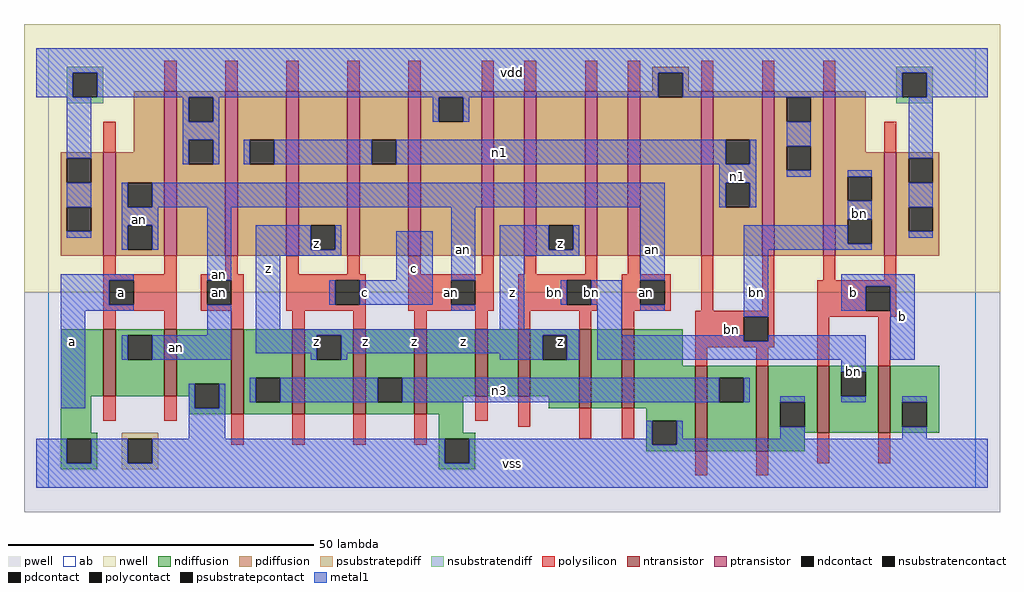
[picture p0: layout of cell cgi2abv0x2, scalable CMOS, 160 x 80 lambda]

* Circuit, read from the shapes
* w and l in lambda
.subckt cgi2abv0x2 a an b bn c n1 n3 vdd vss z
M1 an a vss vss nfet w=11 l=2 m=2
M2 n3 an vss vss nfet w=14 l=2 m=2
M3 z c n3 vss nfet w=14 l=2 m=2
M4 n2 an vss vss nfet w=11 l=2
M5 z bn n2 vss nfet w=11 l=2
M6 n4 bn z vss nfet w=13 l=2
M7 vss an n4 vss nfet w=13 l=2
M8 n3 bn vss vss nfet w=14 l=2 m=2
M9 bn b vss vss nfet w=11 l=2 m=2
M10 an a vdd vdd pfet w=17 l=2
M11 vdd a an vdd pfet w=27 l=2
M12 n1 an vdd vdd pfet w=27 l=2 m=2
M13 z c n1 vdd pfet w=27 l=2 m=2
M14 n5 an vdd vdd pfet w=27 l=2
M15 z bn n5 vdd pfet w=27 l=2
M16 n6 bn z vdd pfet w=27 l=2
M17 vdd an n6 vdd pfet w=27 l=2
M18 n1 bn vdd vdd pfet w=27 l=2 m=2
M19 bn b vdd vdd pfet w=27 l=2
M20 vdd b bn vdd pfet w=17 l=2
.ends

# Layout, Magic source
magic
tech scmos
<< ab >>
rect 0 0 152 72
<< pwell >>
rect -4 -4 156 32
<< nwell >>
rect -4 32 156 76
<< polysilicon >>
rect 19 65 21 70
rect 29 65 31 70
rect 39 65 41 70
rect 49 65 51 70
rect 59 65 61 70
rect 71 65 73 70
rect 78 65 80 70
rect 88 65 90 70
rect 95 65 97 70
rect 9 55 11 60
rect 107 65 109 70
rect 117 65 119 70
rect 127 65 129 70
rect 137 55 139 60
rect 9 35 11 38
rect 19 35 21 38
rect 29 35 31 38
rect 39 35 41 38
rect 49 35 51 38
rect 59 35 61 38
rect 71 35 73 38
rect 78 35 80 38
rect 88 35 90 38
rect 95 35 97 38
rect 9 34 21 35
rect 9 30 10 34
rect 14 30 21 34
rect 9 29 21 30
rect 25 34 32 35
rect 25 30 26 34
rect 30 30 32 34
rect 25 29 32 30
rect 39 34 52 35
rect 39 30 47 34
rect 51 30 52 34
rect 39 29 52 30
rect 59 34 73 35
rect 59 30 66 34
rect 70 30 73 34
rect 59 29 73 30
rect 77 34 90 35
rect 77 30 85 34
rect 89 30 90 34
rect 77 29 90 30
rect 94 34 102 35
rect 94 30 97 34
rect 101 30 102 34
rect 94 29 102 30
rect 107 29 109 38
rect 117 29 119 38
rect 127 34 129 38
rect 137 34 139 38
rect 9 26 11 29
rect 19 26 21 29
rect 30 26 32 29
rect 40 26 42 29
rect 50 26 52 29
rect 60 26 62 29
rect 70 26 72 29
rect 77 26 79 29
rect 87 26 89 29
rect 94 26 96 29
rect 106 28 119 29
rect 9 11 11 15
rect 19 11 21 15
rect 30 7 32 12
rect 40 7 42 12
rect 50 7 52 12
rect 60 7 62 12
rect 70 11 72 15
rect 77 10 79 15
rect 106 24 114 28
rect 118 24 119 28
rect 106 23 119 24
rect 126 33 139 34
rect 126 29 134 33
rect 138 29 139 33
rect 126 28 139 29
rect 106 20 108 23
rect 116 20 118 23
rect 126 20 128 28
rect 136 20 138 28
rect 87 8 89 13
rect 94 8 96 13
rect 106 2 108 6
rect 116 2 118 6
rect 126 4 128 9
rect 136 4 138 9
<< ndiffusion >>
rect 2 15 9 26
rect 11 25 19 26
rect 11 21 13 25
rect 17 21 19 25
rect 11 15 19 21
rect 21 17 30 26
rect 21 15 24 17
rect 2 9 7 15
rect 23 13 24 15
rect 28 13 30 17
rect 23 12 30 13
rect 32 18 40 26
rect 32 14 34 18
rect 38 14 40 18
rect 32 12 40 14
rect 42 25 50 26
rect 42 21 44 25
rect 48 21 50 25
rect 42 12 50 21
rect 52 18 60 26
rect 52 14 54 18
rect 58 14 60 18
rect 52 12 60 14
rect 62 15 70 26
rect 72 15 77 26
rect 79 25 87 26
rect 79 21 81 25
rect 85 21 87 25
rect 79 15 87 21
rect 62 12 68 15
rect 2 8 8 9
rect 2 4 3 8
rect 7 4 8 8
rect 2 3 8 4
rect 64 9 68 12
rect 82 13 87 15
rect 89 13 94 26
rect 96 20 104 26
rect 96 13 106 20
rect 64 8 70 9
rect 98 11 106 13
rect 64 4 65 8
rect 69 4 70 8
rect 98 7 99 11
rect 103 7 106 11
rect 98 6 106 7
rect 108 18 116 20
rect 108 14 110 18
rect 114 14 116 18
rect 108 6 116 14
rect 118 14 126 20
rect 118 10 120 14
rect 124 10 126 14
rect 118 9 126 10
rect 128 19 136 20
rect 128 15 130 19
rect 134 15 136 19
rect 128 9 136 15
rect 138 14 146 20
rect 138 10 140 14
rect 144 10 146 14
rect 138 9 146 10
rect 118 6 124 9
rect 64 3 70 4
<< pdiffusion >>
rect 99 68 105 69
rect 99 65 100 68
rect 14 55 19 65
rect 2 54 9 55
rect 2 50 3 54
rect 7 50 9 54
rect 2 46 9 50
rect 2 42 3 46
rect 7 42 9 46
rect 2 38 9 42
rect 11 50 19 55
rect 11 46 13 50
rect 17 46 19 50
rect 11 43 19 46
rect 11 39 13 43
rect 17 39 19 43
rect 11 38 19 39
rect 21 64 29 65
rect 21 60 23 64
rect 27 60 29 64
rect 21 57 29 60
rect 21 53 23 57
rect 27 53 29 57
rect 21 38 29 53
rect 31 57 39 65
rect 31 53 33 57
rect 37 53 39 57
rect 31 38 39 53
rect 41 43 49 65
rect 41 39 43 43
rect 47 39 49 43
rect 41 38 49 39
rect 51 57 59 65
rect 51 53 53 57
rect 57 53 59 57
rect 51 38 59 53
rect 61 64 71 65
rect 61 60 64 64
rect 68 60 71 64
rect 61 38 71 60
rect 73 38 78 65
rect 80 43 88 65
rect 80 39 82 43
rect 86 39 88 43
rect 80 38 88 39
rect 90 38 95 65
rect 97 64 100 65
rect 104 65 105 68
rect 104 64 107 65
rect 97 38 107 64
rect 109 57 117 65
rect 109 53 111 57
rect 115 53 117 57
rect 109 50 117 53
rect 109 46 111 50
rect 115 46 117 50
rect 109 38 117 46
rect 119 64 127 65
rect 119 60 121 64
rect 125 60 127 64
rect 119 56 127 60
rect 119 52 121 56
rect 125 52 127 56
rect 119 38 127 52
rect 129 55 134 65
rect 129 51 137 55
rect 129 47 131 51
rect 135 47 137 51
rect 129 44 137 47
rect 129 40 131 44
rect 135 40 137 44
rect 129 38 137 40
rect 139 54 146 55
rect 139 50 141 54
rect 145 50 146 54
rect 139 46 146 50
rect 139 42 141 46
rect 145 42 146 46
rect 139 38 146 42
<< metal1 >>
rect -2 68 154 72
rect -2 64 4 68
rect 8 64 100 68
rect 104 64 140 68
rect 144 64 154 68
rect 3 54 7 64
rect 22 60 23 64
rect 27 60 28 64
rect 63 60 64 64
rect 68 60 69 64
rect 22 57 28 60
rect 22 53 23 57
rect 27 53 28 57
rect 32 53 33 57
rect 37 53 53 57
rect 57 53 111 57
rect 115 53 116 57
rect 110 50 116 53
rect 121 56 125 60
rect 141 54 145 64
rect 121 51 125 52
rect 131 51 135 52
rect 3 46 7 50
rect 3 41 7 42
rect 12 46 13 50
rect 17 46 101 50
rect 110 46 111 50
rect 115 46 116 50
rect 12 43 18 46
rect 12 39 13 43
rect 17 39 18 43
rect 2 34 14 35
rect 2 30 10 34
rect 2 29 14 30
rect 26 34 30 46
rect 2 13 6 29
rect 26 25 30 30
rect 12 21 13 25
rect 17 21 30 25
rect 34 39 43 43
rect 47 39 48 43
rect 34 38 48 39
rect 34 26 38 38
rect 57 34 63 42
rect 46 30 47 34
rect 51 30 63 34
rect 66 34 70 46
rect 66 29 70 30
rect 74 39 82 43
rect 86 39 87 43
rect 74 38 87 39
rect 74 26 78 38
rect 97 34 101 46
rect 131 44 135 47
rect 84 30 85 34
rect 89 30 94 34
rect 34 25 87 26
rect 34 22 44 25
rect 43 21 44 22
rect 48 22 81 25
rect 48 21 49 22
rect 74 21 81 22
rect 85 21 87 25
rect 90 25 94 30
rect 97 29 101 30
rect 114 40 131 43
rect 141 46 145 50
rect 141 41 145 42
rect 114 39 135 40
rect 114 28 118 39
rect 130 33 142 35
rect 130 29 134 33
rect 90 24 114 25
rect 118 24 134 25
rect 90 21 134 24
rect 138 21 142 33
rect 130 19 134 21
rect 23 13 24 17
rect 28 13 29 17
rect 33 14 34 18
rect 38 14 54 18
rect 58 14 110 18
rect 114 14 115 18
rect 120 14 124 15
rect 130 14 134 15
rect 140 14 144 15
rect 23 8 29 13
rect 98 8 99 11
rect -2 4 3 8
rect 7 4 13 8
rect 17 4 65 8
rect 69 7 99 8
rect 103 8 104 11
rect 120 8 124 10
rect 140 8 144 10
rect 103 7 154 8
rect 69 4 154 7
rect -2 0 154 4
<< ntransistor >>
rect 9 15 11 26
rect 19 15 21 26
rect 30 12 32 26
rect 40 12 42 26
rect 50 12 52 26
rect 60 12 62 26
rect 70 15 72 26
rect 77 15 79 26
rect 87 13 89 26
rect 94 13 96 26
rect 106 6 108 20
rect 116 6 118 20
rect 126 9 128 20
rect 136 9 138 20
<< ptransistor >>
rect 9 38 11 55
rect 19 38 21 65
rect 29 38 31 65
rect 39 38 41 65
rect 49 38 51 65
rect 59 38 61 65
rect 71 38 73 65
rect 78 38 80 65
rect 88 38 90 65
rect 95 38 97 65
rect 107 38 109 65
rect 117 38 119 65
rect 127 38 129 65
rect 137 38 139 55
<< polycontact >>
rect 10 30 14 34
rect 26 30 30 34
rect 47 30 51 34
rect 66 30 70 34
rect 85 30 89 34
rect 97 30 101 34
rect 114 24 118 28
rect 134 29 138 33
<< ndcontact >>
rect 13 21 17 25
rect 24 13 28 17
rect 34 14 38 18
rect 44 21 48 25
rect 54 14 58 18
rect 81 21 85 25
rect 3 4 7 8
rect 65 4 69 8
rect 99 7 103 11
rect 110 14 114 18
rect 120 10 124 14
rect 130 15 134 19
rect 140 10 144 14
<< pdcontact >>
rect 3 50 7 54
rect 3 42 7 46
rect 13 46 17 50
rect 13 39 17 43
rect 23 60 27 64
rect 23 53 27 57
rect 33 53 37 57
rect 43 39 47 43
rect 53 53 57 57
rect 64 60 68 64
rect 82 39 86 43
rect 100 64 104 68
rect 111 53 115 57
rect 111 46 115 50
rect 121 60 125 64
rect 121 52 125 56
rect 131 47 135 51
rect 131 40 135 44
rect 141 50 145 54
rect 141 42 145 46
<< psubstratepcontact >>
rect 13 4 17 8
<< nsubstratencontact >>
rect 4 64 8 68
rect 140 64 144 68
<< psubstratepdiff >>
rect 12 8 18 9
rect 12 4 13 8
rect 17 4 18 8
rect 12 3 18 4
<< nsubstratendiff >>
rect 3 68 9 69
rect 3 64 4 68
rect 8 64 9 68
rect 3 63 9 64
rect 139 68 145 69
rect 139 64 140 68
rect 144 64 145 68
rect 139 63 145 64
<< labels >>
rlabel polycontact 28 32 28 32 6 an
rlabel polysilicon 66 32 66 32 6 an
rlabel polycontact 98 32 98 32 6 an
rlabel polysilicon 83 32 83 32 6 bn
rlabel polysilicon 112 26 112 26 6 bn
rlabel metal1 4 24 4 24 6 a
rlabel polycontact 12 32 12 32 6 a
rlabel metal1 15 44 15 44 6 an
rlabel metal1 21 23 21 23 6 an
rlabel metal1 52 24 52 24 6 z
rlabel metal1 44 24 44 24 6 z
rlabel metal1 52 32 52 32 6 c
rlabel pdcontact 44 40 44 40 6 z
rlabel metal1 36 36 36 36 6 z
rlabel metal1 28 35 28 35 6 an
rlabel metal1 76 4 76 4 6 vss
rlabel metal1 60 24 60 24 6 z
rlabel ndcontact 84 24 84 24 6 z
rlabel metal1 68 24 68 24 6 z
rlabel metal1 76 32 76 32 6 z
rlabel metal1 60 36 60 36 6 c
rlabel pdcontact 84 40 84 40 6 z
rlabel metal1 68 39 68 39 6 an
rlabel metal1 76 68 76 68 6 vdd
rlabel metal1 74 16 74 16 6 n3
rlabel metal1 89 32 89 32 6 bn
rlabel metal1 99 39 99 39 6 an
rlabel metal1 116 32 116 32 6 bn
rlabel metal1 113 51 113 51 6 n1
rlabel metal1 74 55 74 55 6 n1
rlabel metal1 132 19 132 19 6 bn
rlabel metal1 140 28 140 28 6 b
rlabel metal1 132 32 132 32 6 b
rlabel metal1 133 45 133 45 6 bn
<< end >>
